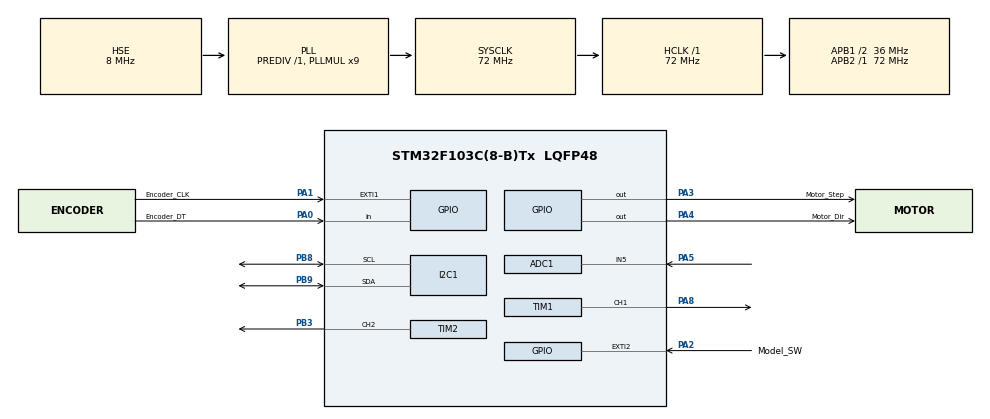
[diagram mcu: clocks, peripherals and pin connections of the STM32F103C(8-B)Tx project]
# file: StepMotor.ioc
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ADC1.Channel-0\#ChannelRegularConversion=ADC_CHANNEL_5
ADC1.ContinuousConvMode=ENABLE
ADC1.ExternalTrigConv=ADC_EXTERNALTRIGCONV_T2_CC2
ADC1.NbrOfConversion=1
ADC1.NbrOfConversionFlag=1
ADC1.Rank-0\#ChannelRegularConversion=1
ADC1.SamplingTime-0\#ChannelRegularConversion=ADC_SAMPLETIME_239CYCLES_5
ADC1.master=1
Dma.ADC1.0.Direction=DMA_PERIPH_TO_MEMORY
Dma.ADC1.0.Instance=DMA1_Channel1
Dma.ADC1.0.MemDataAlignment=DMA_MDATAALIGN_HALFWORD
Dma.ADC1.0.MemInc=DMA_MINC_ENABLE
Dma.ADC1.0.Mode=DMA_CIRCULAR
Dma.ADC1.0.PeriphDataAlignment=DMA_PDATAALIGN_HALFWORD
Dma.ADC1.0.PeriphInc=DMA_PINC_DISABLE
Dma.ADC1.0.Priority=DMA_PRIORITY_LOW
Dma.Request0=ADC1
Mcu.Family=STM32F1
Mcu.Name=STM32F103C(8-B)Tx
Mcu.Package=LQFP48
NVIC.DMA1_Channel1_IRQn=true\:0\:0\:false\:false\:true\:false\:true\:true
NVIC.EXTI1_IRQn=true\:2\:0\:true\:false\:true\:true\:true\:true
NVIC.EXTI2_IRQn=true\:2\:0\:true\:false\:true\:true\:true\:true
NVIC.PriorityGroup=NVIC_PRIORITYGROUP_4
NVIC.TIM3_IRQn=true\:1\:0\:true\:false\:true\:true\:true\:true
PA0-WKUP.GPIO_Label=Encoder_DT
PA0-WKUP.GPIO_PuPd=GPIO_PULLUP
PA0-WKUP.Signal=GPIO_Input
PA1.GPIO_Label=Encoder_CLK
PA1.GPIO_ModeDefaultEXTI=GPIO_MODE_IT_FALLING
PA1.GPIO_PuPd=GPIO_PULLUP
PA1.Signal=GPXTI1
PA13.Mode=Serial_Wire
PA13.Signal=SYS_JTMS-SWDIO
PA14.Mode=Serial_Wire
PA14.Signal=SYS_JTCK-SWCLK
PA2.GPIO_Label=Model_SW
PA2.GPIO_ModeDefaultEXTI=GPIO_MODE_IT_FALLING
PA2.GPIO_PuPd=GPIO_PULLUP
PA2.Signal=GPXTI2
PA3.GPIO_Label=Motor_Step
PA3.GPIO_ModeDefaultOutputPP=GPIO_MODE_OUTPUT_PP
PA3.GPIO_PuPd=GPIO_PULLUP
PA3.GPIO_Speed=GPIO_SPEED_FREQ_HIGH
PA3.PinState=GPIO_PIN_SET
PA3.Signal=GPIO_Output
PA4.GPIO_Label=Motor_Dir
PA4.GPIO_PuPd=GPIO_PULLUP
PA4.GPIO_Speed=GPIO_SPEED_FREQ_MEDIUM
PA4.Signal=GPIO_Output
PA5.Signal=ADCx_IN5
PA8.Signal=S_TIM1_CH1
PB3.Signal=S_TIM2_CH2
PB8.Mode=I2C
PB8.Signal=I2C1_SCL
PB9.Mode=I2C
PB9.Signal=I2C1_SDA
PD0-OSC_IN.Mode=HSE-External-Oscillator
PD0-OSC_IN.Signal=RCC_OSC_IN
PD1-OSC_OUT.Mode=HSE-External-Oscillator
PD1-OSC_OUT.Signal=RCC_OSC_OUT
ProjectManager.HeapSize=0x200
ProjectManager.StackSize=0x400
ProjectManager.TargetToolchain=MDK-ARM V5
RCC.ADCPresc=RCC_ADCPCLK2_DIV6
RCC.AHBFreq_Value=72000000
RCC.APB1CLKDivider=RCC_HCLK_DIV2
RCC.APB1Freq_Value=36000000
RCC.APB1TimFreq_Value=72000000
RCC.APB2Freq_Value=72000000
RCC.APB2TimFreq_Value=72000000
RCC.HCLKFreq_Value=72000000
RCC.PLLMUL=RCC_PLL_MUL9
RCC.PLLSourceVirtual=RCC_PLLSOURCE_HSE
RCC.SYSCLKFreq_VALUE=72000000
RCC.SYSCLKSource=RCC_SYSCLKSOURCE_PLLCLK
RCC.USBFreq_Value=72000000
SH.ADCx_IN5.0=ADC1_IN5,IN5
SH.S_TIM1_CH1.0=TIM1_CH1,PWM Generation1 CH1
SH.S_TIM2_CH2.0=TIM2_CH2,PWM Generation2 CH2
TIM1.AutoReloadPreload=TIM_AUTORELOAD_PRELOAD_ENABLE
TIM1.Channel-PWM\ Generation1\ CH1=TIM_CHANNEL_1
TIM1.Period=7199
TIM1.Prescaler=9
TIM1.Pulse-PWM\ Generation1\ CH1=3600
TIM2.Channel-PWM\ Generation2\ CH2=TIM_CHANNEL_2
TIM2.Period=9999
TIM2.Prescaler=7199
TIM2.Pulse-PWM\ Generation2\ CH2=100
TIM3.AutoReloadPreload=TIM_AUTORELOAD_PRELOAD_ENABLE
TIM3.Period=4999
TIM3.Prescaler=7199
VP_TIM1_VS_ClockSourceINT.Mode=Internal
VP_TIM2_VS_ClockSourceINT.Mode=Internal
VP_TIM3_VS_ClockSourceINT.Mode=Internal
board=custom

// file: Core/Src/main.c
/* USER CODE BEGIN Header */
/**
  ******************************************************************************
  * @file           : main.c
  * @brief          : Main program body
  ******************************************************************************
  * @attention
  *
  * Copyright (c) 2024 STMicroelectronics.
  * All rights reserved.
  *
  * This software is licensed under terms that can be found in the LICENSE file
  * in the root directory of this software component.
  * If no LICENSE file comes with this software, it is provided AS-IS.
  *
  ******************************************************************************
  */
/* USER CODE END Header */
#include "main.h"
#include "adc.h"
#include "dma.h"
#include "i2c.h"
#include "tim.h"
#include "gpio.h"

/* USER CODE BEGIN Includes */
#include "motor.h"
#include "sysdelay.h"
#include "OLED_I2C.h"
/* USER CODE END Includes */

/* USER CODE BEGIN PV */
unsigned int Speed = 2000;
unsigned int Flag_SW = 0;
unsigned int Model_MP = 0;				//切换手动档和自动�?
uint16_t AdcBuf = 0;

/* USER CODE END PV */

void SystemClock_Config(void);

int main(void)
{

  /* MCU Configuration--------------------------------------------------------*/

  /* Reset of all peripherals, Initializes the Flash interface and the Systick. */
  HAL_Init();

  /* Configure the system clock */
  SystemClock_Config();

  /* Initialize all configured peripherals */
  MX_GPIO_Init();
  MX_DMA_Init();
  MX_TIM3_Init();
  MX_I2C1_Init();
  MX_ADC1_Init();
  MX_TIM2_Init();
  MX_TIM1_Init();
  /* USER CODE BEGIN 2 */
	OLED_I2C_Init();
	OLED_I2C_Clear();

	__HAL_TIM_CLEAR_IT(&htim3, TIM_IT_UPDATE);	//清除定时器中断标志位，防止一�?机就进定时器中断
	HAL_ADCEx_Calibration_Start(&hadc1);		//启动adc1的自动校�?
	HAL_TIM_Base_Start_IT(&htim2);
	HAL_TIM_PWM_Start(&htim1, TIM_CHANNEL_1);			//启用TIM1的CH1通道来输出控制步进电机的50%占空比的PWM信号
	HAL_TIM_PWM_Start(&htim2, TIM_CHANNEL_2);			//启用TIM2的CH2通道来输出PWM信号，以1s为周期使能AD转换
	HAL_ADC_Start_DMA(&hadc1,(uint32_t *)&AdcBuf, 1);	//启用adc1的DMA传输

	OLED_ShowNum(1,1,Speed,4,16,10);
	OLED_ShowNum(3,3,Model_MP,1,16,10);
	OLED_ShowNum(5,5,AdcBuf,4,16,10);

  /* USER CODE END 2 */

  /* Infinite loop */
  while (1)
  {

    /* USER CODE BEGIN 3 */
	if(Model_MP == Automatic)
	{
		SYS_Delay_us(Speed);
	  	Motor_Step_R();
	}
  }
  /* USER CODE END 3 */
}

void SystemClock_Config(void)
{
  RCC_OscInitTypeDef RCC_OscInitStruct = {0};
  RCC_ClkInitTypeDef RCC_ClkInitStruct = {0};
  RCC_PeriphCLKInitTypeDef PeriphClkInit = {0};

  /** Initializes the RCC Oscillators according to the specified parameters
  * in the RCC_OscInitTypeDef structure.
  */
  RCC_OscInitStruct.OscillatorType = RCC_OSCILLATORTYPE_HSE;
  RCC_OscInitStruct.HSEState = RCC_HSE_ON;
  RCC_OscInitStruct.HSEPredivValue = RCC_HSE_PREDIV_DIV1;
  RCC_OscInitStruct.HSIState = RCC_HSI_ON;
  RCC_OscInitStruct.PLL.PLLState = RCC_PLL_ON;
  RCC_OscInitStruct.PLL.PLLSource = RCC_PLLSOURCE_HSE;
  RCC_OscInitStruct.PLL.PLLMUL = RCC_PLL_MUL9;
  if (HAL_RCC_OscConfig(&RCC_OscInitStruct) != HAL_OK)
  {
    Error_Handler();
  }

  /** Initializes the CPU, AHB and APB buses clocks
  */
  RCC_ClkInitStruct.ClockType = RCC_CLOCKTYPE_HCLK|RCC_CLOCKTYPE_SYSCLK
                              |RCC_CLOCKTYPE_PCLK1|RCC_CLOCKTYPE_PCLK2;
  RCC_ClkInitStruct.SYSCLKSource = RCC_SYSCLKSOURCE_PLLCLK;
  RCC_ClkInitStruct.AHBCLKDivider = RCC_SYSCLK_DIV1;
  RCC_ClkInitStruct.APB1CLKDivider = RCC_HCLK_DIV2;
  RCC_ClkInitStruct.APB2CLKDivider = RCC_HCLK_DIV1;

  if (HAL_RCC_ClockConfig(&RCC_ClkInitStruct, FLASH_LATENCY_2) != HAL_OK)
  {
    Error_Handler();
  }
  PeriphClkInit.PeriphClockSelection = RCC_PERIPHCLK_ADC;
  PeriphClkInit.AdcClockSelection = RCC_ADCPCLK2_DIV6;
  if (HAL_RCCEx_PeriphCLKConfig(&PeriphClkInit) != HAL_OK)
  {
    Error_Handler();
  }
}

/* USER CODE BEGIN 4 */
void HAL_GPIO_EXTI_Callback(uint16_t GPIO_Pin)
{
	if(GPIO_Pin == Model_SW_Pin)
	{
		Flag_SW = 1;
		__HAL_TIM_CLEAR_IT(&htim3, TIM_IT_UPDATE);//清除定时器中断标志位，防止一�?机就进定时器中断
		HAL_TIM_Base_Start_IT(&htim3);		//打开定时器中�?
	}else if(GPIO_Pin == Encoder_CLK_Pin)
	{
		Flag_SW = 2;
		if(HAL_GPIO_ReadPin(Encoder_DT_GPIO_Port,  Encoder_DT_Pin) && Model_MP == Automatic){
			Speed += 100;
			OLED_ShowNum(1,1,Speed,4,16,10);
			OLED_ShowNum(5,5,AdcBuf,4,16,10);
		}else if(! HAL_GPIO_ReadPin(Encoder_DT_GPIO_Port,  Encoder_DT_Pin) && Model_MP == Automatic){
			Speed -= 100;
			OLED_ShowNum(1,1,Speed,4,16,10);
			OLED_ShowNum(5,5,AdcBuf,4,16,10);
		}else if(! HAL_GPIO_ReadPin(Encoder_DT_GPIO_Port,  Encoder_DT_Pin) && Model_MP == Manual){
			Motor_MultiStep(1, 0);
		}else if(HAL_GPIO_ReadPin(Encoder_DT_GPIO_Port,  Encoder_DT_Pin) && Model_MP == Manual){
			Motor_MultiStep(1, 1);
		}
	}
}

void HAL_TIM_PeriodElapsedCallback(TIM_HandleTypeDef *htim)
{
	//Speed += 1;
	//if(htim == &htim3)
		__HAL_TIM_CLEAR_IT(&htim3, TIM_IT_UPDATE);//清除定时器中断标志位，防止一�?机就进定时器中断�?
		HAL_TIM_Base_Stop_IT(&htim3);
		__HAL_TIM_SET_COUNTER(&htim3, 0);
		if(! HAL_GPIO_ReadPin(Model_SW_GPIO_Port, Model_SW_Pin) && Flag_SW == 1)
		{
			if(Model_MP == Automatic){Model_MP = Manual;}
			else if(Model_MP == Manual){Model_MP = Automatic;}
			OLED_ShowNum(3,3,Model_MP,1,16,10);
		}
}

/* USER CODE END 4 */

void Error_Handler(void)
{
  __disable_irq();
  while (1)
  {
  }
}
